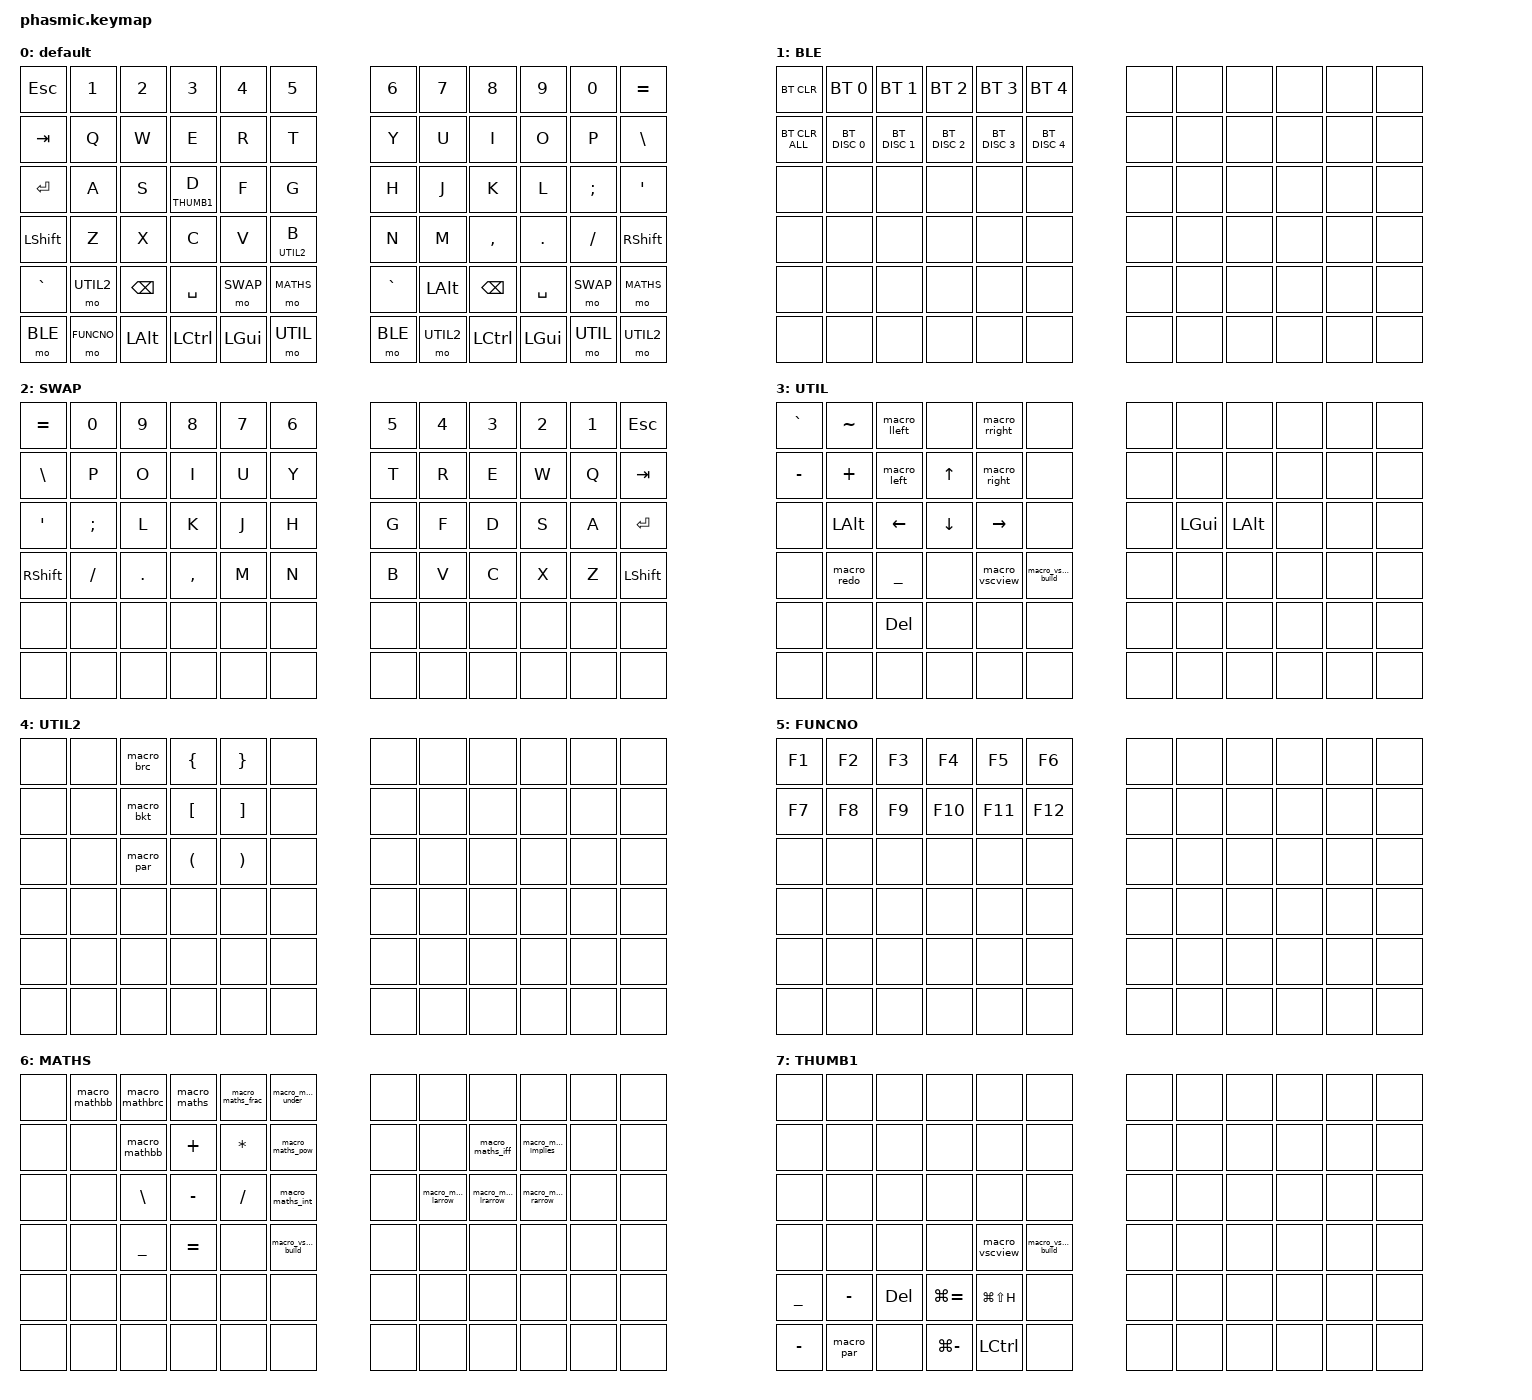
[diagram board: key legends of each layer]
/*
 * Copyright (c) 2020 The ZMK Contributors
 *
 * SPDX-License-Identifier: MIT
 */

#include <behaviors.dtsi>
#include <dt-bindings/zmk/keys.h>
#include <dt-bindings/zmk/bt.h>

#define BASE 0
#define BLE 1
#define SWAP 2
#define UTIL 3
#define UTIL2 4
#define FUNCNO 5
#define MATHS 6
#define THUMB1 7

/ {

   // Activate ADJUST layer by pressing raise and lower
    conditional_layers {
        compatible = "zmk,conditional-layers";
    };

    macros {
        macro_maths: macro_maths {
            compatible = "zmk,behavior-macro";
            #binding-cells = <0>;
            bindings
                = <&macro_tap &kp BSLH &kp LPAR  &kp BSLH &kp RPAR &kp LEFT  &kp LEFT>;
        };

        macro_maths_pow: macro_maths_pow {
            compatible = "zmk,behavior-macro";
            #binding-cells = <0>;
            bindings
                = <&macro_tap &kp CARET &kp LBRC &kp RBRC &kp LEFT>;
        };

        macro_maths_under: macro_maths_under {
            compatible = "zmk,behavior-macro";
            #binding-cells = <0>;
            bindings
                = <&macro_tap &kp UNDER &kp LBRC &kp RBRC &kp LEFT>;
        };

        macro_maths_frac: macro_maths_frac {
            compatible = "zmk,behavior-macro";
            #binding-cells = <0>;
            bindings
                = <&macro_tap &kp BSLH &kp F &kp R &kp A &kp C  &kp LBRC &kp RBRC  &kp LBRC &kp RBRC &kp LEFT &kp LEFT &kp LEFT>;
        };

        macro_maths_int: macro_maths_int {
            compatible = "zmk,behavior-macro";
            #binding-cells = <0>;
            bindings
                = <&macro_tap &kp BSLH &kp I &kp N &kp T &kp UNDER  &kp LBRC &kp RBRC  &kp CARET &kp LBRC &kp RBRC &kp LEFT &kp LEFT &kp LEFT &kp LEFT>;
        };

        macro_maths_rarrow: macro_maths_rarrow {
            compatible = "zmk,behavior-macro";
            #binding-cells = <0>;
            bindings
                = <&macro_tap &kp BSLH>,<&macro_press &kp LSHFT>,<&macro_tap &kp R>,<&macro_release &kp LSHFT>,<&macro_tap &kp I &kp G &kp H &kp T &kp A &kp R &kp R &kp O &kp W &kp SPACE>;
        };

        macro_maths_larrow: macro_maths_larrow {
            compatible = "zmk,behavior-macro";
            #binding-cells = <0>;
            bindings
                = <&macro_tap &kp BSLH>,<&macro_press &kp LSHFT>,<&macro_tap &kp L>,<&macro_release &kp LSHFT>,<&macro_tap &kp E &kp F &kp T &kp A &kp R &kp R &kp O &kp W &kp SPACE>;
        };

        macro_maths_lrarrow: macro_maths_lrarrow {
            compatible = "zmk,behavior-macro";
            #binding-cells = <0>;
            bindings
                = <&macro_tap &kp BSLH>,<&macro_press &kp LSHFT>,<&macro_tap &kp L>,<&macro_release &kp LSHFT>,<&macro_tap &kp E &kp F &kp T &kp R &kp I &kp G &kp H &kp T &kp A &kp R &kp R &kp O &kp W &kp SPACE>;
        };

        macro_maths_iff: macro_maths_iff {
            compatible = "zmk,behavior-macro";
            #binding-cells = <0>;
            bindings
                = <&macro_tap &kp BSLH>,<&macro_tap &kp I &kp F &kp F &kp SPACE>;
        };

        macro_maths_implies: macro_maths_implies {
            compatible = "zmk,behavior-macro";
            #binding-cells = <0>;
            bindings
                = <&macro_tap &kp BSLH>,<&macro_tap &kp I &kp M &kp P &kp L &kp I &kp E &kp S &kp SPACE>;
        };

        macro_vscode_build: macro_vscode_build {
            compatible = "zmk,behavior-macro";
            #binding-cells = <0>;
            bindings
                = 
                <&macro_press &kp LGUI>,
                <&macro_press &kp LALT>,
                <&macro_tap &kp B>,
                <&macro_release &kp LALT>,
                <&macro_release &kp LGUI>;
        };

        macro_alt_backspace: macro_alt_backspace {
            compatible = "zmk,behavior-macro";
            #binding-cells = <0>;
            bindings
                = <&macro_press &kp LALT>
                , <&macro_tap &kp BSPC>
                , <&macro_release &kp LALT>
                ;
        };

        macro_par: macro_par {
            compatible = "zmk,behavior-macro";
            #binding-cells = <0>;
            bindings
                = <&macro_tap &kp LPAR &kp RPAR &kp LEFT>;
        };

        macro_bkt: macro_bkt {
            compatible = "zmk,behavior-macro";
            #binding-cells = <0>;
            bindings
                = <&macro_tap &kp LBKT &kp RBKT &kp LEFT>;
        };

        macro_brc: macro_brc {
            compatible = "zmk,behavior-macro";
            #binding-cells = <0>;
            bindings
                = <&macro_tap &kp LBRC &kp RBRC &kp LEFT>;
        };

        macro_apos: macro_apos {
            compatible = "zmk,behavior-macro";
            #binding-cells = <0>;
            bindings
                = <&macro_tap &kp APOS &kp APOS &kp LEFT>;
        };

        macro_dqt: macro_dqt {
            compatible = "zmk,behavior-macro";
            #binding-cells = <0>;
            bindings
                = <&macro_tap &kp DQT &kp DQT &kp LEFT>;
        };

        hold_two: hold_two {
            compatible = "zmk,behavior-macro";
            #binding-cells = <0>;
            wait-ms = <0>;

            bindings =
                <&macro_press>,
                <&kp LCTRL>,
                <&kp LSHIFT>,
                <&macro_pause_for_release>,
                <&macro_release>,
                <&kp LCTRL>,
                <&kp LSHIFT>;
        };

        macro_left: macro_left {
            compatible = "zmk,behavior-macro";
            #binding-cells = <0>;
            bindings
                = 
                <&macro_press &kp LALT>,
                <&macro_tap &kp LEFT>,
                <&macro_release &kp LALT>;
        };

        macro_lleft: macro_lleft {
            compatible = "zmk,behavior-macro";
            #binding-cells = <0>;
            bindings
                = <&macro_tap &kp LEFT &kp LEFT &kp LEFT &kp LEFT &kp LEFT &kp LEFT &kp LEFT &kp LEFT &kp LEFT &kp LEFT>;
        };

        macro_right: macro_right {
            compatible = "zmk,behavior-macro";
            #binding-cells = <0>;
            bindings
                = 
                <&macro_press &kp LALT>,
                <&macro_tap &kp RIGHT>,
                <&macro_release &kp LALT>;
        };


        macro_rright: macro_rright {
            compatible = "zmk,behavior-macro";
            #binding-cells = <0>;
            bindings
                = <&macro_tap &kp RIGHT &kp RIGHT &kp RIGHT &kp RIGHT &kp RIGHT &kp RIGHT &kp RIGHT &kp RIGHT &kp RIGHT &kp RIGHT>;
        };

        macro_supercpy: macro_supercpy { //super copy, works for mac, win, ubun
            compatible = "zmk,behavior-macro";
            #binding-cells = <0>;
            bindings
                = 
                <&macro_press &kp LCTRL>,
                <&macro_press &kp LSHFT>,
                <&macro_tap &kp C>,
                <&macro_release &kp LSHFT>,
                <&macro_release &kp LCTRL>;
        };

        macro_superpst: macro_superpst {
            compatible = "zmk,behavior-macro";
            #binding-cells = <0>;
            bindings
                =     
                <&macro_press &kp LCTRL>,
                <&macro_press &kp LSHFT>,
                <&macro_tap &kp V>,
                <&macro_release &kp LSHFT>,
                <&macro_release &kp LCTRL>;
        };

        macro_redo: macro_redo {
            compatible = "zmk,behavior-macro";
            #binding-cells = <0>;
            bindings =
                <&kp LG(LS(Z))>,
                <&kp LG(Y)>;
        };

        td0: tap_dance_0 {
            compatible = "zmk,behavior-tap-dance";
            #binding-cells = <0>;
            tapping-term-ms = <200>;
            bindings = <&mo UTIL>, <&mo MATHS>;
        };

        macro_sall: macro_sall {
            compatible = "zmk,behavior-macro";
            #binding-cells = <0>;
            bindings
                = 
                <&macro_press &kp LGUI>,
                <&macro_tap &kp A>,
                <&macro_release &kp LGUI>;
        };

        tdSwMth: tap_dance_2 {
            compatible = "zmk,behavior-tap-dance";
            #binding-cells = <0>;
            tapping-term-ms = <200>;
            bindings = <&mo SWAP>, <&mo MATHS>;
        };

        tdSwpDir: tap_dance_swp_dir {
            compatible = "zmk,behavior-tap-dance";
            #binding-cells = <0>;
            tapping-term-ms = <200>;
            bindings = <&mo SWAP>, <&mo UTIL>;
        };

        macro_mathbb: macro_mathbb {
            compatible = "zmk,behavior-macro";
            #binding-cells = <0>;
            bindings = <&macro_tap &kp BSLH &kp M &kp A &kp T &kp H &kp B &kp B &kp SPACE>;
        };

        macro_mathbrc: macro_mathbrc {
            compatible = "zmk,behavior-macro";
            #binding-cells = <0>;
            bindings = <&macro_tap &kp BSLH &kp LBRC &kp BSLH &kp RBRC &kp LEFT &kp LEFT>;
        };

        macro_vscview: macro_vscview {
            compatible = "zmk,behavior-macro";
            #binding-cells = <0>;
            bindings  =
                <&macro_press &kp LGUI>,
                <&macro_press &kp LALT>,
                <&macro_tap &kp V>,
                <&macro_release &kp LALT>,
                <&macro_release &kp LGUI>,

                <&macro_press &kp LGUI>,
                <&macro_press &kp LSHIFT>,
                <&macro_tap &kp V>,
                <&macro_release &kp LSHIFT>,
                <&macro_release &kp LGUI>;
        };

        tdSwap: tap_dance_3 {
            compatible = "zmk,behavior-tap-dance";
            #binding-cells = <0>;
            tapping-term-ms = <200>;
            bindings = <&mo SWAP>, <&mo UTIL2>;
        };

        tdBTU3: tap_dance_4 {
            compatible = "zmk,behavior-tap-dance";
            #binding-cells = <0>;
            tapping-term-ms = <200>;
            bindings = <&mo BLE>, <&mo FUNCNO>;
        };

    };

    /*
    *   Thumb column mappings:
    *   1 2 3 4 5 6 || 12 11 10 9 8 7
    */

    keymap {
        compatible = "zmk,keymap";

    default_layer {
        display-name = "default";
        bindings = <
            &kp ESC     &kp N1      &kp N2      &kp N3        &kp N4    &kp N5      &kp N6    &kp N7    &kp N8    &kp N9    &kp N0    &kp EQUAL
            &kp TAB     &kp Q       &kp W       &kp E         &kp R     &kp T       &kp Y     &kp U     &kp I     &kp O     &kp P     &kp BSLH
            &kp RET     &kp A       &kp S       &lt THUMB1 D  &kp F     &kp G       &kp H     &kp J     &kp K     &kp L     &kp SEMI  &kp SQT
            &kp LSHFT   &kp Z       &kp X       &kp C         &kp V     &lt UTIL2 B &kp N     &kp M     &kp COMMA &kp DOT   &kp FSLH  &kp RSHFT
            &kp GRAVE   &mo UTIL2   &kp BSPC    &kp SPACE     &mo SWAP  &mo MATHS   &kp GRAVE &kp LALT  &kp BSPC  &kp SPACE &mo SWAP  &mo MATHS
            &mo BLE     &mo FUNCNO  &kp LALT    &kp LCTRL     &kp LGUI  &mo UTIL    &mo BLE   &mo UTIL2 &kp LCTRL &kp LGUI  &mo UTIL  &mo UTIL2
        >;
    };

    ble_layer {
        display-name = "BLE";
        bindings = <
            &bt BT_CLR      &bt BT_SEL 0  &bt BT_SEL 1  &bt BT_SEL 2  &bt BT_SEL 3  &bt BT_SEL 4  &none  &none  &none  &none  &none  &none
            &bt BT_CLR_ALL  &bt BT_DISC 0 &bt BT_DISC 1 &bt BT_DISC 2 &bt BT_DISC 3 &bt BT_DISC 4 &none  &none  &none  &none  &none  &none
            &none           &none         &none         &none         &none         &none         &none  &none  &none  &none  &none  &none
            &none           &none         &none         &none         &none         &none         &none  &none  &none  &none  &none  &none
            &none           &none         &none         &none         &none         &none         &none  &none  &none  &none  &none  &none
            &none           &none         &none         &none         &none         &none         &none  &none  &none  &none  &none  &none
        >;
    };

    swap {
        display-name = "SWAP";
        bindings = <
            &kp EQUAL  &kp N0   &kp N9   &kp N8     &kp N7  &kp N6   &kp N5   &kp N4   &kp N3   &kp N2   &kp N1   &kp ESC
            &kp BSLH   &kp P    &kp O    &kp I      &kp U   &kp Y    &kp T    &kp R    &kp E    &kp W    &kp Q    &kp TAB
            &kp SQT    &kp SEMI &kp L    &kp K      &kp J   &kp H    &kp G    &kp F    &kp D    &kp S    &kp A    &kp RET
            &kp RSHFT  &kp FSLH &kp DOT  &kp COMMA  &kp M   &kp N    &kp B    &kp V    &kp C    &kp X    &kp Z    &kp LSHFT
            &none      &none    &none    &none      &none   &none    &none    &none    &none    &none    &none    &none
            &none      &none    &none    &none      &none   &none    &none    &none    &none    &none    &none    &none
        >;
    };

    util {
        display-name = "UTIL";
        bindings = <
            &kp GRAVE   &kp TILDE   &macro_lleft    &none       &macro_rright           &none       &none     &none       &none       &none       &none       &none
            &kp MINUS   &kp PLUS    &macro_left     &kp UP      &macro_right   &none       &none     &none       &none       &none       &none       &none
            &none       &kp LALT    &kp LEFT        &kp DOWN    &kp RIGHT       &none       &none     &kp LGUI    &kp LALT    &none       &none       &none
            &none       &macro_redo &kp UNDER       &none       &macro_vscview  &macro_vscode_build &none   &none   &none   &none   &none   &none
            &none       &none       &kp DEL         &none       &none           &none       &none     &none       &none       &none       &none       &none
            &none       &none       &none           &none       &none           &none       &none     &none       &none       &none       &none       &none
        >;
    };

    util2 {
        display-name = "UTIL2";
        bindings = <
            &none &none &macro_brc  &kp LBRC    &kp RBRC    &none   &none   &none &none &none &none &none
            &none &none &macro_bkt  &kp LBKT    &kp RBKT    &none   &none   &none &none &none &none &none
            &none &none &macro_par  &kp LPAR    &kp RPAR    &none   &none   &none &none &none &none &none
            &none &none &none       &none       &none       &none   &none   &none &none &none &none &none
            &none &none &none       &none       &none       &none   &none   &none &none &none &none &none
            &none &none &none       &none       &none       &none   &none   &none &none &none &none &none
        >;
    };

    funcNo {
        display-name = "FUNCNO";
        bindings = <
            &kp F1  &kp F2      &kp F3  &kp F4  &kp F5  &kp F6  &none   &none   &none   &none   &none   &none
            &kp F7  &kp F8      &kp F9  &kp F10 &kp F11 &kp F12 &none   &none   &none   &none   &none   &none
            &none   &none       &none   &none   &none   &none   &none   &none   &none   &none   &none   &none
            &none   &none       &none   &none   &none   &none   &none   &none   &none   &none   &none   &none
            &none   &none       &none   &none   &none   &none   &none   &none   &none   &none   &none   &none
            &none   &none       &none   &none   &none   &none   &none   &none   &none   &none   &none   &none
        >;
    };

    maths {
        display-name = "MATHS";
        bindings = <
            &none   &macro_mathbb       &macro_mathbrc  &macro_maths    &macro_maths_frac   &macro_maths_under  &none  &none                &none                 &none                  &none  &none
            &none   &none               &macro_mathbb   &kp PLUS        &kp STAR            &macro_maths_pow    &none  &none                &macro_maths_iff      &macro_maths_implies   &none  &none
            &none   &none               &kp BSLH        &kp MINUS       &kp FSLH            &macro_maths_int    &none  &macro_maths_larrow  &macro_maths_lrarrow  &macro_maths_rarrow    &none  &none
            &none   &none               &kp UNDER       &kp EQUAL       &none               &macro_vscode_build &none  &none                &none                 &none                  &none  &none
            &none   &none               &none           &none           &none               &none               &none  &none                &none                 &none                  &none  &none
            &none   &none               &none           &none           &none               &none               &none  &none                &none                 &none                  &none  &none
        >;
    };

    thumb1 {
        display-name = "THUMB1";
        bindings = <
            &none       &none       &none   &none               &none           &none               &none   &none   &none   &none   &none   &none
            &none       &none       &none   &none               &none           &none               &none   &none   &none   &none   &none   &none
            &none       &none       &none   &none               &none           &none               &none   &none   &none   &none   &none   &none
            &none       &none       &none   &none               &macro_vscview  &macro_vscode_build &none   &none   &none   &none   &none   &none
            &kp UNDER   &kp MINUS   &kp DEL &kp LG(EQUAL)       &kp LG(LS(H))   &none               &none   &none   &none   &none   &none   &none
            &kp MINUS   &macro_par  &none   &kp LG(MINUS)       &kp LCTRL       &none               &none   &none   &none   &none   &none   &none
        >;
    };
    };
};
